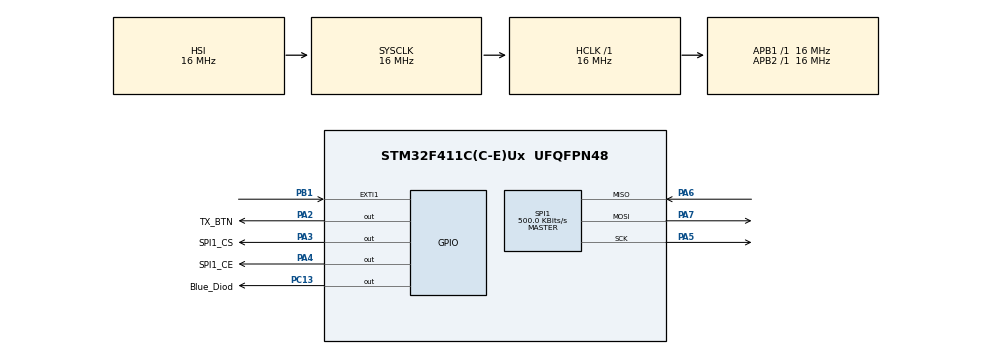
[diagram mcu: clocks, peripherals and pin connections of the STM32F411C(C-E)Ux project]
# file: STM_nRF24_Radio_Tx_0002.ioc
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Mcu.Family=STM32F4
Mcu.Name=STM32F411C(C-E)Ux
Mcu.Package=UFQFPN48
NVIC.EXTI1_IRQn=true\:0\:0\:false\:false\:true\:true\:true\:true
NVIC.PriorityGroup=NVIC_PRIORITYGROUP_4
PA13.Mode=Serial_Wire
PA13.Signal=SYS_JTMS-SWDIO
PA14.Mode=Serial_Wire
PA14.Signal=SYS_JTCK-SWCLK
PA2.GPIO_Label=TX_BTN
PA2.GPIO_PuPd=GPIO_PULLUP
PA2.Signal=GPIO_Output
PA3.GPIO_Label=SPI1_CS
PA3.Signal=GPIO_Output
PA4.GPIO_Label=SPI1_CE
PA4.Signal=GPIO_Output
PA5.Mode=Full_Duplex_Master
PA5.Signal=SPI1_SCK
PA6.Mode=Full_Duplex_Master
PA6.Signal=SPI1_MISO
PA7.Mode=Full_Duplex_Master
PA7.Signal=SPI1_MOSI
PB1.GPIO_ModeDefaultEXTI=GPIO_MODE_IT_FALLING
PB1.GPIO_PuPd=GPIO_PULLUP
PB1.Signal=GPXTI1
PC13-ANTI_TAMP.GPIO_Label=Blue_Diod
PC13-ANTI_TAMP.GPIO_PuPd=GPIO_PULLUP
PC13-ANTI_TAMP.Signal=GPIO_Output
ProjectManager.HeapSize=0x200
ProjectManager.StackSize=0x400
ProjectManager.TargetToolchain=CMake
RCC.AHBFreq_Value=16000000
RCC.APB1Freq_Value=16000000
RCC.APB2Freq_Value=16000000
RCC.CortexFreq_Value=16000000
RCC.HSE_VALUE=25000000
RCC.HSI_VALUE=16000000
RCC.LSE_VALUE=32768
RCC.SYSCLKFreq_VALUE=16000000
RCC.VCOOutputFreq_Value=192000000
SPI1.BaudRatePrescaler=SPI_BAUDRATEPRESCALER_32
SPI1.CalculateBaudRate=500.0 KBits/s
SPI1.Direction=SPI_DIRECTION_2LINES
SPI1.Mode=SPI_MODE_MASTER
SPI1.VirtualType=VM_MASTER
board=custom

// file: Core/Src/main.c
/* USER CODE BEGIN Header */
/**
  ******************************************************************************
  * @file           : main.c
  * @brief          : Main program body
  ******************************************************************************
  * @attention
  *
  * Copyright (c) 2026 STMicroelectronics.
  * All rights reserved.
  *
  * This software is licensed under terms that can be found in the LICENSE file
  * in the root directory of this software component.
  * If no LICENSE file comes with this software, it is provided AS-IS.
  *
  ******************************************************************************
  */
/* USER CODE END Header */
#include "main.h"

/* USER CODE BEGIN PTD */
#define CS_LOW() HAL_GPIO_WritePin(SPI1_CS_GPIO_Port, SPI1_CS_Pin, GPIO_PIN_RESET)
#define CS_HIGH() HAL_GPIO_WritePin(SPI1_CS_GPIO_Port, SPI1_CS_Pin, GPIO_PIN_SET)

#define CE_LOW() HAL_GPIO_WritePin(SPI1_CE_GPIO_Port, SPI1_CE_Pin, GPIO_PIN_RESET)
#define CE_HIGH() HAL_GPIO_WritePin(SPI1_CE_GPIO_Port, SPI1_CE_Pin, GPIO_PIN_SET)

#define TX_BTN_LOW() HAL_GPIO_WritePin(TX_BTN_GPIO_Port, TX_BTN_Pin, GPIO_PIN_RESET)
#define TX_BTN_HIGH() HAL_GPIO_WritePin(TX_BTN_GPIO_Port, TX_BTN_Pin, GPIO_PIN_SET)

#define W_REGISTER 0x20
#define R_REGISTER 0X00
#define FLUSH_TX_REGISTER 0xE1
#define FLUSH_RX_REGISTER 0xE2
#define STATUS_REGISTER 0x07
/* USER CODE END PTD */

/* USER CODE BEGIN PD */
typedef struct {
  HAL_StatusTypeDef hal_status;
  uint8_t operation_result;
} nRF24_Operation_Status;

typedef enum  {
  NRF24_STATE_OK,
  NRF24_STATE_INIT_ERROR,
  NRF24_STATE_SPI_ERROR,
  NRF24_STATE_CONFIG_MISMATCH
} nRF24_State;

typedef struct {
  uint8_t Rx_dr;
  uint8_t Tx_ds;
  uint8_t Max_rt;
  uint8_t Rx_pipe;
  uint8_t Tx_full;
} nRF24_StatusTypeDef;

typedef struct {
  nRF24_Operation_Status Config;
  nRF24_Operation_Status RF_Setup;
  nRF24_Operation_Status RF_CH;
  nRF24_Operation_Status Setup_RETR;
  nRF24_Operation_Status EN_AA;
  nRF24_Operation_Status EN_RXADDR;
} nRF24_InitStatusTypeDef;
/* USER CODE END PD */

SPI_HandleTypeDef hspi1;

/* USER CODE BEGIN PV */
static const nRF24_Operation_Status nRF24_error_status = {
  HAL_ERROR, 0
};

/* USER CODE END PV */

void SystemClock_Config(void);
static void MX_GPIO_Init(void);
static void MX_SPI1_Init(void);
/* USER CODE BEGIN PFP */
nRF24_Operation_Status write_to_reg(uint8_t addr, uint8_t byte);
nRF24_Operation_Status read_reg(uint8_t reg);
nRF24_State init_config();
nRF24_State init_TX();
void init_RX();
nRF24_Operation_Status flush_TX();
nRF24_Operation_Status flush_RX();
nRF24_Operation_Status read_and_modify(uint8_t reg, uint8_t mask, uint8_t value);
nRF24_StatusTypeDef process_status(uint8_t reg);
nRF24_Operation_Status clear_status(uint8_t mask);
nRF24_Operation_Status write_multi_register(uint8_t addr, const uint8_t *bytes, uint16_t size);

/* USER CODE END PFP */

/* USER CODE BEGIN 0 */

nRF24_Operation_Status write_multi_register(const uint8_t addr, const uint8_t *bytes, const uint16_t size) {

  if (HAL_GPIO_ReadPin(SPI1_CE_GPIO_Port, SPI1_CE_Pin) == GPIO_PIN_SET) {
    return nRF24_error_status;
  }

  if (bytes == NULL || size == 0) {
    return nRF24_error_status;
  }

  HAL_StatusTypeDef HAL_result;
  const uint8_t write_command = (W_REGISTER | (addr & 0x1F));

  CS_LOW();
  const HAL_StatusTypeDef HAL_Command_Result = HAL_SPI_Transmit(&hspi1, &write_command, sizeof(write_command), 1000);
  if (HAL_Command_Result == HAL_OK) {
    const HAL_StatusTypeDef HAL_Bytes_Result = HAL_SPI_Transmit(&hspi1, bytes, size, 1000);
    HAL_result = HAL_Bytes_Result == HAL_OK ? HAL_OK : HAL_ERROR;
  } else {
    HAL_result = HAL_ERROR;
  }
  CS_HIGH();

  const nRF24_Operation_Status status = {
    HAL_result, addr
  };
  return status;
}

nRF24_Operation_Status write_to_reg(const uint8_t addr, const uint8_t byte) {
  if (HAL_GPIO_ReadPin(SPI1_CE_GPIO_Port, SPI1_CE_Pin) == 1) {
    // Add debug log
    const nRF24_Operation_Status status = {
      HAL_ERROR, 0
    };
    return status;
  }

  const uint8_t data[2] = {(W_REGISTER | (addr & 0x1F)), byte};
  CS_LOW();
  const HAL_StatusTypeDef HAL_Result = HAL_SPI_Transmit(&hspi1, data, sizeof(data), 1000);
  CS_HIGH();

  const nRF24_Operation_Status status = {
    HAL_Result, byte
  };

  return status;
}

nRF24_Operation_Status flush_TX() {
  if (HAL_GPIO_ReadPin(SPI1_CE_GPIO_Port, SPI1_CE_Pin) == 1) {
    // Add debug log
    const nRF24_Operation_Status status = {
      HAL_ERROR, 0
    };
    return status;
  }

  const uint8_t flush_reg = FLUSH_TX_REGISTER;
  CS_LOW();
  const HAL_StatusTypeDef HAL_Result = HAL_SPI_Transmit(&hspi1, &flush_reg, sizeof(flush_reg), 1000);
  CS_HIGH();

  const nRF24_Operation_Status status = {
    HAL_Result, 0x00
  };

  return status;
}

nRF24_Operation_Status flush_RX() {
  if (HAL_GPIO_ReadPin(SPI1_CE_GPIO_Port, SPI1_CE_Pin) == 1) {
    // Add debug log
    const nRF24_Operation_Status status = {
      HAL_ERROR, 0
    };
    return status;
  }

  const uint8_t flush_reg = FLUSH_RX_REGISTER;
  CS_LOW();
  const HAL_StatusTypeDef HAL_Result = HAL_SPI_Transmit(&hspi1, &flush_reg, sizeof(flush_reg), 1000);
  CS_HIGH();

  const nRF24_Operation_Status status = {
    HAL_Result, 0x00
  };

  return status;
}

nRF24_Operation_Status read_reg(const uint8_t reg) {
  if (HAL_GPIO_ReadPin(SPI1_CE_GPIO_Port, SPI1_CE_Pin) == GPIO_PIN_SET) {
    return nRF24_error_status;
  }
  uint8_t  received_reg_data[2];
  const uint8_t reading_reg = (R_REGISTER | (reg & 0x1F));
  const uint8_t sending_data[2] = {reading_reg, 0x0};
  CS_LOW();
  const HAL_StatusTypeDef HAL_status = HAL_SPI_TransmitReceive(&hspi1, sending_data, received_reg_data, sizeof(sending_data), 1000);
  CS_HIGH();

  uint8_t value = 0;

  if (HAL_status == HAL_OK)
    value = received_reg_data[1];

  const nRF24_Operation_Status op_status = {
    HAL_status, value
  };

  return  op_status;
}

nRF24_Operation_Status read_and_modify(const uint8_t reg, const uint8_t mask, const uint8_t value) {
  const nRF24_Operation_Status read_op_status = read_reg(reg);

  if (read_op_status.hal_status == HAL_OK) {
    if ((read_op_status.operation_result & mask) == (value & mask)) {
      return read_op_status;
    }
    const uint8_t reg_value = read_op_status.operation_result;
    const uint8_t byte = (reg_value & ~mask) | (value & mask);
    const nRF24_Operation_Status write_op_status = write_to_reg(reg, byte);

    return write_op_status;
  }
  return read_op_status;
}

nRF24_StatusTypeDef process_status(const uint8_t reg) {
  const nRF24_StatusTypeDef status = {
    (reg >> 6) & 0x01,
    (reg >> 5) & 0x01,
    (reg >> 4) & 0x01,
    (reg >> 1) & 0x07,
    (reg >> 0) & 0x01,
  };
  return status;
}

nRF24_Operation_Status clear_status(const uint8_t mask) {
  const uint8_t allowed_mask = 0b01110000;

  if ((mask & ~allowed_mask) == 0) {
    const uint8_t data[2] = {(W_REGISTER | (STATUS_REGISTER & 0x1F)), mask};
    CS_LOW();
    const HAL_StatusTypeDef HAL_Result = HAL_SPI_Transmit(&hspi1, data, sizeof(data), 1000);
    CS_HIGH();

    const nRF24_Operation_Status w_op_status = {
      HAL_Result,
      mask
    };
    return w_op_status;
  }

  const nRF24_Operation_Status status = {
    HAL_ERROR, 0
  };
  return status;
}

void HAL_GPIO_EXTI_Callback(uint16_t GPIO_Pin) {

}

nRF24_State init_TX() {
  const uint8_t address[5] = {0x05, 0xB6, 0xB5, 0xB4, 0xB3};

  CE_LOW();
  CS_HIGH();

  write_to_reg(0x00, 0x0A);

  if (write_to_reg(0x05, 0x22).hal_status != HAL_OK) {
    return NRF24_STATE_SPI_ERROR;
  }

  HAL_Delay(2);

  if (write_to_reg(0x05, 0x22).hal_status != HAL_OK)
    return NRF24_STATE_SPI_ERROR;

  if (write_to_reg(0x06, 0x4E).hal_status != HAL_OK)
    return NRF24_STATE_SPI_ERROR;

  if (write_to_reg(0x04, 0x21).hal_status != HAL_OK)
    return NRF24_STATE_SPI_ERROR;

  if (write_to_reg(0x01, 0x01).hal_status != HAL_OK)
    return NRF24_STATE_SPI_ERROR;

  if (write_to_reg(0x02, 0x01).hal_status != HAL_OK)
    return NRF24_STATE_SPI_ERROR;

  if (write_multi_register(0x10, address, sizeof(address)).hal_status != HAL_OK)
    return NRF24_STATE_SPI_ERROR;

  if (write_multi_register(0x0A, address, sizeof(address)).hal_status != HAL_OK)
    return NRF24_STATE_SPI_ERROR;

  if (flush_TX().hal_status != HAL_OK)
    return NRF24_STATE_SPI_ERROR;

  if (flush_RX().hal_status != HAL_OK)
    return NRF24_STATE_SPI_ERROR;

  if (clear_status(0x70).hal_status != HAL_OK)
    return NRF24_STATE_SPI_ERROR;

  nRF24_Operation_Status r = read_reg(0x00);
  if (r.hal_status != HAL_OK || (r.operation_result & 0x0F) != (0x0A & 0x0F))
    return NRF24_STATE_CONFIG_MISMATCH;

  r = read_reg(0x06);
  if (r.hal_status != HAL_OK || r.operation_result != 0x4E)
    return NRF24_STATE_CONFIG_MISMATCH;

  r = read_reg(0x05);
  if (r.hal_status != HAL_OK || r.operation_result != 0x22)
    return NRF24_STATE_CONFIG_MISMATCH;

  r = read_reg(0x04);
  if (r.hal_status != HAL_OK || r.operation_result != 0x21)
    return NRF24_STATE_CONFIG_MISMATCH;

  r = read_reg(0x01);
  if (r.hal_status != HAL_OK || r.operation_result != 0x01)
    return NRF24_STATE_CONFIG_MISMATCH;

  r = read_reg(0x02);
  if (r.hal_status != HAL_OK || r.operation_result != 0x01)
    return NRF24_STATE_CONFIG_MISMATCH;

  return NRF24_STATE_OK;
}
/* USER CODE END 0 */

int main(void)
{

  /* MCU Configuration--------------------------------------------------------*/

  /* Reset of all peripherals, Initializes the Flash interface and the Systick. */
  HAL_Init();

  /* Configure the system clock */
  SystemClock_Config();

  /* Initialize all configured peripherals */
  MX_GPIO_Init();
  MX_SPI1_Init();
  /* USER CODE BEGIN 2 */
  const nRF24_State init_state = init_TX();

  if (init_state != NRF24_STATE_OK) {
    HAL_GPIO_WritePin(Blue_Diod_GPIO_Port, Blue_Diod_Pin, GPIO_PIN_SET);
    while(1);
  }

  HAL_Delay(50); // Даємо час модулю прокинутись

  // Simple test
  // CE_LOW();
  // CS_HIGH();
  // HAL_Delay(10);
  // nRF24_Operation_Status c_status = clear_status(0x70);
  // nRF24_Operation_Status read_status1 = read_reg(0x05);  //0x10
  // nRF24_Operation_Status write_status = write_to_reg(0x05, 0x22);
  // HAL_Delay(5);
  // nRF24_Operation_Status read_status2 = read_reg(0x05);  //0x22

  /* USER CODE END 2 */

  /* Infinite loop */
  while (1)
  {

  }
}

void SystemClock_Config(void)
{
  RCC_OscInitTypeDef RCC_OscInitStruct = {0};
  RCC_ClkInitTypeDef RCC_ClkInitStruct = {0};

  /** Configure the main internal regulator output voltage
  */
  __HAL_RCC_PWR_CLK_ENABLE();
  __HAL_PWR_VOLTAGESCALING_CONFIG(PWR_REGULATOR_VOLTAGE_SCALE1);

  /** Initializes the RCC Oscillators according to the specified parameters
  * in the RCC_OscInitTypeDef structure.
  */
  RCC_OscInitStruct.OscillatorType = RCC_OSCILLATORTYPE_HSI;
  RCC_OscInitStruct.HSIState = RCC_HSI_ON;
  RCC_OscInitStruct.HSICalibrationValue = RCC_HSICALIBRATION_DEFAULT;
  RCC_OscInitStruct.PLL.PLLState = RCC_PLL_NONE;
  if (HAL_RCC_OscConfig(&RCC_OscInitStruct) != HAL_OK)
  {
    Error_Handler();
  }

  /** Initializes the CPU, AHB and APB buses clocks
  */
  RCC_ClkInitStruct.ClockType = RCC_CLOCKTYPE_HCLK|RCC_CLOCKTYPE_SYSCLK
                              |RCC_CLOCKTYPE_PCLK1|RCC_CLOCKTYPE_PCLK2;
  RCC_ClkInitStruct.SYSCLKSource = RCC_SYSCLKSOURCE_HSI;
  RCC_ClkInitStruct.AHBCLKDivider = RCC_SYSCLK_DIV1;
  RCC_ClkInitStruct.APB1CLKDivider = RCC_HCLK_DIV1;
  RCC_ClkInitStruct.APB2CLKDivider = RCC_HCLK_DIV1;

  if (HAL_RCC_ClockConfig(&RCC_ClkInitStruct, FLASH_LATENCY_0) != HAL_OK)
  {
    Error_Handler();
  }
}

static void MX_SPI1_Init(void)
{

  /* SPI1 parameter configuration*/
  hspi1.Instance = SPI1;
  hspi1.Init.Mode = SPI_MODE_MASTER;
  hspi1.Init.Direction = SPI_DIRECTION_2LINES;
  hspi1.Init.DataSize = SPI_DATASIZE_8BIT;
  hspi1.Init.CLKPolarity = SPI_POLARITY_LOW;
  hspi1.Init.CLKPhase = SPI_PHASE_1EDGE;
  hspi1.Init.NSS = SPI_NSS_SOFT;
  hspi1.Init.BaudRatePrescaler = SPI_BAUDRATEPRESCALER_32;
  hspi1.Init.FirstBit = SPI_FIRSTBIT_MSB;
  hspi1.Init.TIMode = SPI_TIMODE_DISABLE;
  hspi1.Init.CRCCalculation = SPI_CRCCALCULATION_DISABLE;
  hspi1.Init.CRCPolynomial = 10;
  if (HAL_SPI_Init(&hspi1) != HAL_OK)
  {
    Error_Handler();
  }

}

static void MX_GPIO_Init(void)
{
  GPIO_InitTypeDef GPIO_InitStruct = {0};

  /* GPIO Ports Clock Enable */
  __HAL_RCC_GPIOC_CLK_ENABLE();
  __HAL_RCC_GPIOA_CLK_ENABLE();
  __HAL_RCC_GPIOB_CLK_ENABLE();

  /*Configure GPIO pin Output Level */
  HAL_GPIO_WritePin(Blue_Diod_GPIO_Port, Blue_Diod_Pin, GPIO_PIN_RESET);

  /*Configure GPIO pin Output Level */
  HAL_GPIO_WritePin(GPIOA, TX_BTN_Pin|SPI1_CS_Pin|SPI1_CE_Pin, GPIO_PIN_RESET);

  /*Configure GPIO pin : Blue_Diod_Pin */
  GPIO_InitStruct.Pin = Blue_Diod_Pin;
  GPIO_InitStruct.Mode = GPIO_MODE_OUTPUT_PP;
  GPIO_InitStruct.Pull = GPIO_PULLUP;
  GPIO_InitStruct.Speed = GPIO_SPEED_FREQ_LOW;
  HAL_GPIO_Init(Blue_Diod_GPIO_Port, &GPIO_InitStruct);

  /*Configure GPIO pin : TX_BTN_Pin */
  GPIO_InitStruct.Pin = TX_BTN_Pin;
  GPIO_InitStruct.Mode = GPIO_MODE_OUTPUT_PP;
  GPIO_InitStruct.Pull = GPIO_PULLUP;
  GPIO_InitStruct.Speed = GPIO_SPEED_FREQ_LOW;
  HAL_GPIO_Init(TX_BTN_GPIO_Port, &GPIO_InitStruct);

  /*Configure GPIO pins : SPI1_CS_Pin SPI1_CE_Pin */
  GPIO_InitStruct.Pin = SPI1_CS_Pin|SPI1_CE_Pin;
  GPIO_InitStruct.Mode = GPIO_MODE_OUTPUT_PP;
  GPIO_InitStruct.Pull = GPIO_NOPULL;
  GPIO_InitStruct.Speed = GPIO_SPEED_FREQ_LOW;
  HAL_GPIO_Init(GPIOA, &GPIO_InitStruct);

  /*Configure GPIO pin : PB1 */
  GPIO_InitStruct.Pin = GPIO_PIN_1;
  GPIO_InitStruct.Mode = GPIO_MODE_IT_FALLING;
  GPIO_InitStruct.Pull = GPIO_PULLUP;
  HAL_GPIO_Init(GPIOB, &GPIO_InitStruct);

  /* EXTI interrupt init*/
  HAL_NVIC_SetPriority(EXTI1_IRQn, 0, 0);
  HAL_NVIC_EnableIRQ(EXTI1_IRQn);

}

void Error_Handler(void)
{
  __disable_irq();
  while (1)
  {
  }
}
